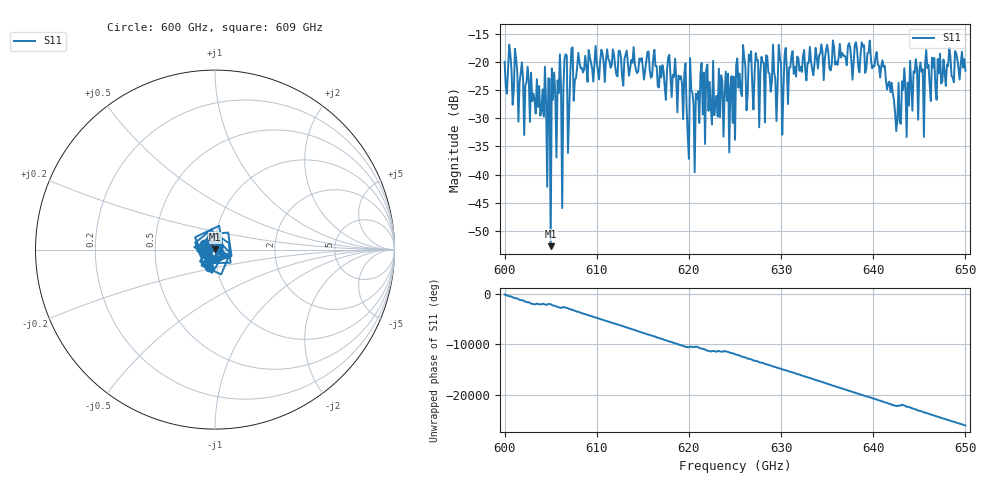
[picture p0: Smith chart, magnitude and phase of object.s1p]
!Created with skrf (http://scikit-rf.org).
# GHz S MA R 50.0
!freq magS11 angS11
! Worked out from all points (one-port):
!   401 points, 600 GHz to 650 GHz, reference 50 ohm
!   lowest |S11| = -52.7 dB at 605 GHz (marker M1), VSWR 1.00, Z = 49.8 + j0.13 ohm
!   |S11| at or under -10 dB: start of sweep to end of sweep
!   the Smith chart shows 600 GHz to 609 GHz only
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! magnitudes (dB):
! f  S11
! 600 GHz  -20.0
! 604.2 GHz  -29.7
! 604.4 GHz  -20.9
! 604.6 GHz  -42.2
! 604.8 GHz  -22.9
! 605 GHz  -52.7
! 605.2 GHz  -26.7
! 605.4 GHz  -21.9
! 606.2 GHz  -45.9
! 608.1 GHz  -20.1
! 612.5 GHz  -18.0
! 618.8 GHz  -29.0
! 619.8 GHz  -28.1
! 620.9 GHz  -26.6
! 621.1 GHz  -30.8
! 622.1 GHz  -28.7
! 622.6 GHz  -19.8
! 625 GHz  -33.8
! 625.9 GHz  -17.0
! 630.1 GHz  -32.9
! 631.2 GHz  -18.1
! 637.5 GHz  -17.5
! 641.1 GHz  -20.9
! 642.8 GHz  -23.7
! 643.2 GHz  -25.0
! 643.8 GHz  -23.7
! 645.9 GHz  -21.1
! 650 GHz  -21.6
